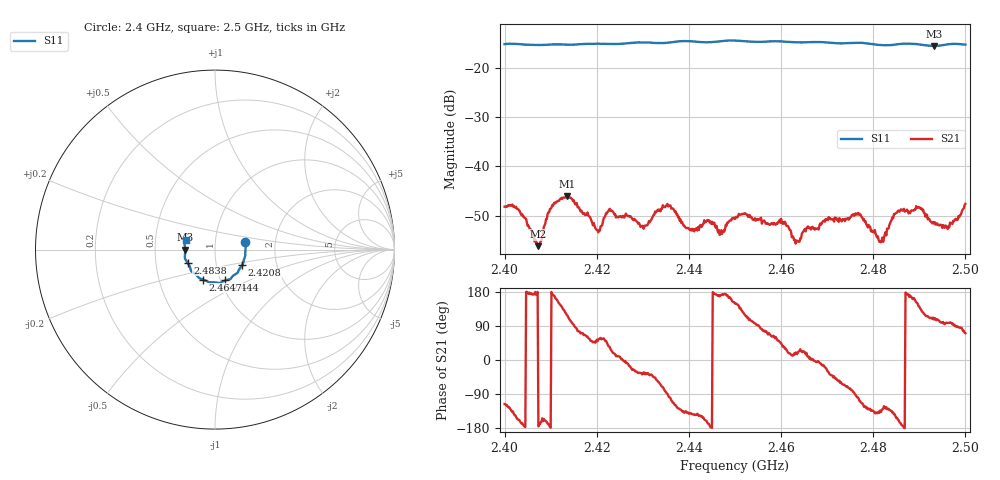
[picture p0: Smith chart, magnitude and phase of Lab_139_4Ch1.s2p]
# Hz S RI R 50
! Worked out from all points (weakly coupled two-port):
!   601 points, 2.4 GHz to 2.5 GHz, reference 50 ohm
!   highest |S21| = -46.12 dB at 2.4135 GHz (marker M1); lowest = -56.2 dB at 2.4073 GHz (marker M2)
!   lowest |S11| = -15.6 dB at 2.4932 GHz (marker M3), VSWR 1.40, Z = 35.8 - j0.0712 ohm
!   |S11| at or under -10 dB: start of sweep to end of sweep
!   S12 and S22 are empty: the file has one direction only
!   S11 on the Smith chart (normalised r, x): 2.4 GHz: 1.40, +0.12; 2.4208 GHz: 1.33, -0.24; 2.444 GHz: 1.06, -0.37; 2.4647 GHz: 0.83, -0.29; 2.4838 GHz: 0.73, -0.11; 2.5 GHz: 0.72, +0.08
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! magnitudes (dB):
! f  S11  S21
! 2.4 GHz  -15.3  -48.2
! 2.4073 GHz  -15.4  -56.2
! 2.4103 GHz  -15.3  -47.9
! 2.4135 GHz  -15.3  -46.1
! 2.4167 GHz  -15.2  -49.0
! 2.4208 GHz  -15.2  -52.2
! 2.4228 GHz  -15.2  -48.6
! 2.43 GHz  -14.9  -52.1
! 2.4333 GHz  -15.0  -48.8
! 2.4407 GHz  -14.7  -52.7
! 2.444 GHz  -14.9  -50.9
! 2.4472 GHz  -14.6  -53.7
! 2.45 GHz  -14.5  -50.7
! 2.4647 GHz  -14.9  -53.4
! 2.4667 GHz  -14.8  -52.4
! 2.4767 GHz  -15.0  -49.5
! 2.4817 GHz  -15.4  -55.4
! 2.4833 GHz  -15.5  -52.6
! 2.4838 GHz  -15.4  -51.2
! 2.4898 GHz  -15.3  -48.3
! 2.4932 GHz  -15.6  -51.6
! 2.5 GHz  -15.4  -47.6
